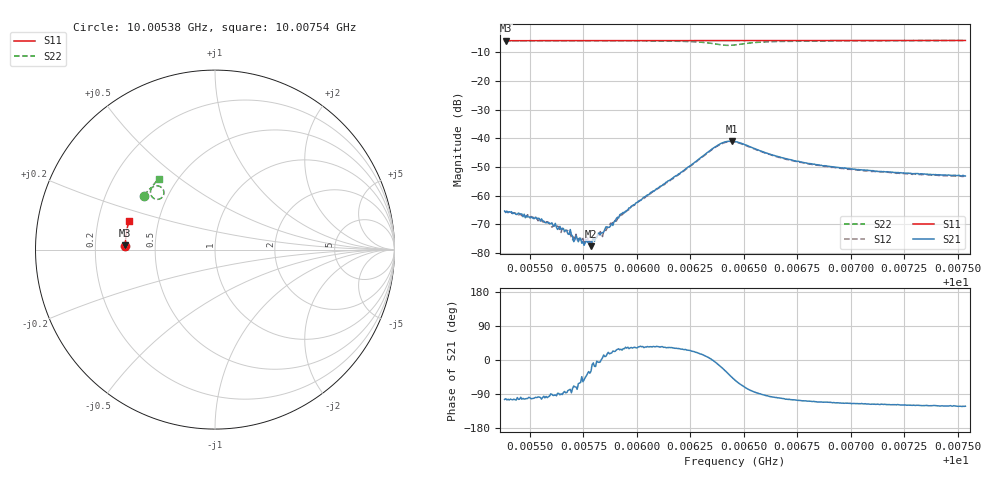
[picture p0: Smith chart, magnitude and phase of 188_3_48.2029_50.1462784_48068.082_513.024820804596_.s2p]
#  HZ  S  RI  R  50.00
! Rohde & Schwarz Vector Network Analyzer
! Rohde-Schwarz,ZNB20-2Port,1311601062101988,3.16
! Created: UTC 3/20/2024, 11:44:31 AM
! freq[Hz]  re:S11  im:S11  re:S21  im:S21  re:S12  im:S12  re:S22  im:S22
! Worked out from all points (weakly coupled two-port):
!   401 points, 10.00538 GHz to 10.00754 GHz, reference 50 ohm
!   highest |S21| = -40.99 dB at 10.00644 GHz (marker M1); lowest = -77.6 dB at 10.00579 GHz (marker M2)
!   lowest |S11| = -6.0 dB at 10.00539 GHz (marker M3), VSWR 3.00, Z = 16.7 + j1.02 ohm
!   |S11| at or under -10 dB: nowhere
!   |S22| runs from -7.7 to -6.0 dB; largest |S21 - S12| = 0.0005
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1.0005382e10  -0.4999 0.0225  -0.000131 -0.000524  -0.00011 -0.000523  -0.3948 0.3005
1.0005387e10  -0.4998 0.0229  -0.000107 -0.000498  -8.94e-05 -0.000521  -0.3946 0.3009
1.0005522e10  -0.4996 0.0316  -6.98e-05 -0.000395  -5.94e-05 -0.000413  -0.3888 0.3089
1.0005608e10  -0.4994 0.0371  -1.88e-05 -0.000304  -3.34e-05 -0.000291  -0.3847 0.3141
1.0005624e10  -0.4993 0.0382  -2.22e-05 -0.000281  2.17e-05 -0.000319  -0.384 0.3152
1.0005651e10  -0.4993 0.0399  -5.44e-06 -0.000269  -5.72e-06 -0.000271  -0.3829 0.3166
1.0005678e10  -0.4991 0.0418  3.56e-05 -0.000212  5.47e-05 -0.000237  -0.3814 0.3185
1.0005699e10  -0.4991 0.043  5.09e-05 -0.000191  5.52e-05 -0.000162  -0.3803 0.3198
1.0005743e10  -0.499 0.0459  0.000107 -0.000104  0.000124 -0.000109  -0.3781 0.3224
1.0005786e10  -0.4988 0.0488  0.000115 -6.51e-05  0.000152 -5.19e-05  -0.3758 0.3252
1.0005796e10  -0.4987 0.0494  0.000178 -2.43e-05  0.000165 -5.24e-05  -0.3753 0.3258
1.000585e10  -0.4985 0.0529  0.000256 4.1e-05  0.000244 6.53e-05  -0.3718 0.3292
1.0005877e10  -0.4984 0.0548  0.000285 9.08e-05  0.000299 0.000149  -0.3702 0.331
1.0005931e10  -0.498 0.0581  0.000442 0.000217  0.000401 0.000238  -0.3667 0.3346
1.0006103e10  -0.4968 0.0693  0.00115 0.0008  0.00108 0.000837  -0.3514 0.3469
1.0006373e10  -0.4941 0.0865  0.00728 -0.00105  0.00716 -0.000667  -0.2862 0.3283
1.0006443e10  -0.4935 0.0904  0.00633 -0.00629  0.0065 -0.00583  -0.3041 0.2841
1.0006459e10  -0.4934 0.0913  0.00523 -0.00702  0.00549 -0.00659  -0.3148 0.2803
1.0006642e10  -0.492 0.1031  -0.000724 -0.00498  -0.000469 -0.0049  -0.3594 0.3219
1.000682e10  -0.49 0.1145  -0.0012 -0.00336  -0.00103 -0.00334  -0.3521 0.3464
1.0007181e10  -0.4849 0.1374  -0.0012 -0.0023  -0.00108 -0.0023  -0.3331 0.3727
1.0007536e10  -0.4787 0.1593  -0.00117 -0.00187  -0.00106 -0.00187  -0.3148 0.3914
